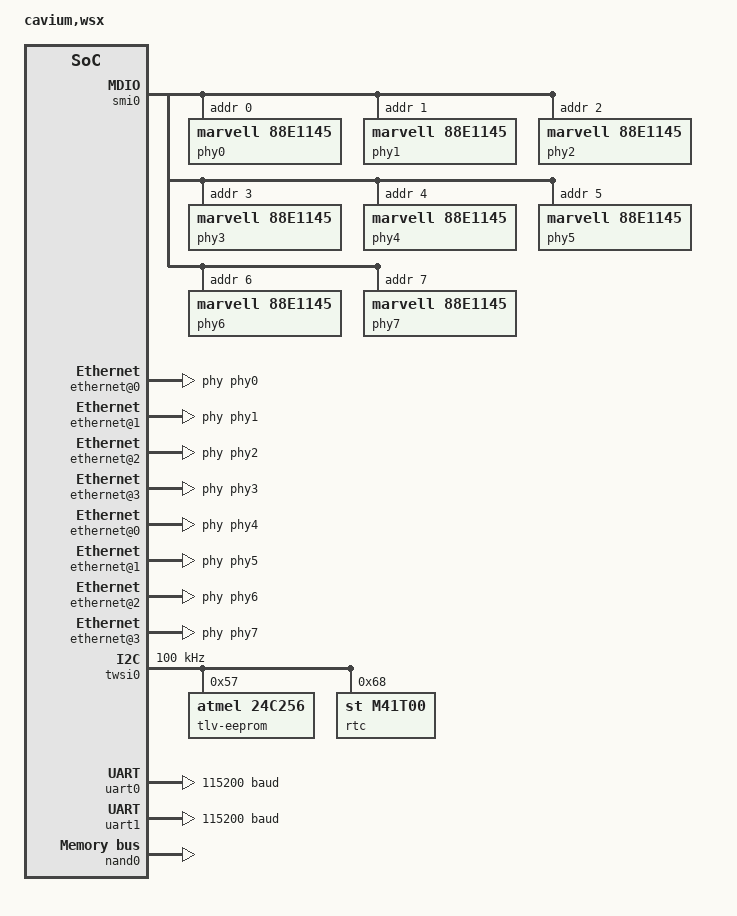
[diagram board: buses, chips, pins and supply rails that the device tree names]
/dts-v1/;
/*
 * Cavium Inc. WSX board
 */
/ {
	model = "cavium,wsx";
	compatible = "cavium,wsx";
	#address-cells = <2>;
	#size-cells = <2>;
	interrupt-parent = <&ciu>;

	soc@0 {
		compatible = "simple-bus";
		#address-cells = <2>;
		#size-cells = <2>;
		ranges; /* Direct mapping */

		ciu: interrupt-controller@1070000000000 {
			compatible = "cavium,octeon-3860-ciu";
			interrupt-controller;
			/* Interrupts are specified by two parts:
			 * 1) Controller register (0 or 1)
			 * 2) Bit within the register (0..63)
			 */
			#interrupt-cells = <2>;
			reg = <0x10700 0x00000000 0x0 0x7000>;
		};

		gpio: gpio-controller@1070000000800 {
			#gpio-cells = <2>;
			compatible = "cavium,octeon-3860-gpio";
			reg = <0x10700 0x00000800 0x0 0x100>;
			gpio-controller;
			/* Interrupts are specified by two parts:
			 * 1) GPIO pin number (0..15)
			 * 2) Triggering (1 - edge rising
			 *		  2 - edge falling
			 *		  4 - level active high
			 *		  8 - level active low)
			 */
			interrupt-controller;
			#interrupt-cells = <2>;
			/* The GPIO pins connect to 16 consecutive CUI bits */
			interrupts = <0 16>; /* <0 17> <0 18> <0 19>
				     <0 20> <0 21> <0 22> <0 23>
				     <0 24> <0 25> <0 26> <0 27>
				     <0 28> <0 29> <0 30> <0 31>; */
		};

		smi0: mdio@1180000001800 {
			compatible = "cavium,octeon-3860-mdio";
			#address-cells = <1>;
			#size-cells = <0>;
			reg = <0x11800 0x00001800 0x0 0x40>;

			phy0: ethernet-phy@0 {
				reg = <0>;
				compatible = "marvell,88e1145";
			};
			phy1: ethernet-phy@1 {
				reg = <1>;
				compatible = "marvell,88e1145";
			};
			phy2: ethernet-phy@2 {
				reg = <2>;
				compatible = "marvell,88e1145";
			};
			phy3: ethernet-phy@3 {
				reg = <3>;
				compatible = "marvell,88e1145";
			};
			phy4: ethernet-phy@4 {
				reg = <4>;
				compatible = "marvell,88e1145";
			};
			phy5: ethernet-phy@5 {
				reg = <5>;
				compatible = "marvell,88e1145";
			};
			phy6: ethernet-phy@6 {
				reg = <6>;
				compatible = "marvell,88e1145";
			};
			phy7: ethernet-phy@7 {
				reg = <7>;
				compatible = "marvell,88e1145";
			};
		};

		pip: pip@11800a0000000 {
			compatible = "cavium,octeon-3860-pip";
			#address-cells = <1>;
			#size-cells = <0>;
			reg = <0x11800 0xa0000000 0x0 0x2000>;

			interface@0 {
				compatible = "cavium,octeon-3860-pip-interface";
				#address-cells = <1>;
				#size-cells = <0>;
				reg = <0>; /* interface */

				ethernet@0 {
					compatible = "cavium,octeon-3860-pip-port";
					reg = <0x0>; /* Port */
					local-mac-address = [ 00 00 00 00 00 00 ];
					phy-handle = <&phy0>;
				};
				ethernet@1 {
					compatible = "cavium,octeon-3860-pip-port";
					reg = <0x1>; /* Port */
					local-mac-address = [ 00 00 00 00 00 00 ];
					phy-handle = <&phy1>;
				};
				ethernet@2 {
					compatible = "cavium,octeon-3860-pip-port";
					reg = <0x2>; /* Port */
					local-mac-address = [ 00 00 00 00 00 00 ];
					phy-handle = <&phy2>;
				};
				ethernet@3 {
					compatible = "cavium,octeon-3860-pip-port";
					reg = <0x3>; /* Port */
					local-mac-address = [ 00 00 00 00 00 00 ];
					phy-handle = <&phy3>;
				};
			};

			interface@1 {
				compatible = "cavium,octeon-3860-pip-interface";
				#address-cells = <1>;
				#size-cells = <0>;
				reg = <1>; /* interface */

				ethernet@0 {
					compatible = "cavium,octeon-3860-pip-port";
					reg = <0x0>; /* Port */
					local-mac-address = [ 00 00 00 00 00 00 ];
					phy-handle = <&phy4>;
				};
				ethernet@1 {
					compatible = "cavium,octeon-3860-pip-port";
					reg = <0x1>; /* Port */
					local-mac-address = [ 00 00 00 00 00 00 ];
					phy-handle = <&phy5>;
				};
				ethernet@2 {
					compatible = "cavium,octeon-3860-pip-port";
					reg = <0x2>; /* Port */
					local-mac-address = [ 00 00 00 00 00 00 ];
					phy-handle = <&phy6>;
				};
				ethernet@3 {
					compatible = "cavium,octeon-3860-pip-port";
					reg = <0x3>; /* Port */
					local-mac-address = [ 00 00 00 00 00 00 ];
					phy-handle = <&phy7>;
				};
			};
		};

		twsi0: i2c@1180000001000 {
			#address-cells = <1>;
			#size-cells = <0>;
			compatible = "cavium,octeon-3860-twsi";
			reg = <0x11800 0x00001000 0x0 0x200>;
			interrupts = <0 45>;
			clock-frequency = <100000>;

			tlv-eeprom@57 {
				compatible = "atmel,24c256";
				reg = <0x57>;
				pagesize = <64>;
			};
			rtc@68 {
				compatible = "st,m41t00";
				reg = <0x68>;
			};

		};

		uart0: serial@1180000000800 {
			compatible = "cavium,octeon-3860-uart","ns16550";
			reg = <0x11800 0x00000800 0x0 0x400>;
			clock-frequency = <0>;
			current-speed = <115200>;
			reg-shift = <3>;
			interrupts = <0 34>;
		};

		uart1: serial@1180000000c00 {
			compatible = "cavium,octeon-3860-uart","ns16550";
			reg = <0x11800 0x00000c00 0x0 0x400>;
			clock-frequency = <0>;
			current-speed = <115200>;
			reg-shift = <3>;
			interrupts = <0 35>;
		};

		bootbus: bootbus@1180000000000 {
			compatible = "cavium,octeon-3860-bootbus";
			reg = <0x11800 0x00000000 0x0 0x200>;
			/* The chip select number and offset */
			#address-cells = <2>;
			/* The size of the chip select region */
			#size-cells = <1>;
			ranges = <0 0  0       0x1fa00000  0x600000>,
				 <1 0  0       0x10000000  0x10000>,
				 <2 0  0       0x1d010000  0xc30000>,
				 <2 0  0x10000 0x20000000  0>, /* NAND broken */
				 <3 0  0x10000 0x30000000  0>,
				 <4 0  0x10000 0x40000000  0>,
				 <5 0  0x10000 0x50000000  0>,
				 <6 0  0x10000 0x60000000  0>,
				 <7 0  0x10000 0x70000000  0>;

			cavium,cs-config@0 {
				compatible = "cavium,octeon-3860-bootbus-config";
				cavium,cs-index = <0>;
				cavium,t-adr  = <10>;
				cavium,t-ce   = <50>;
				cavium,t-oe   = <50>;
				cavium,t-we   = <35>;
				cavium,t-rd-hld = <25>;
				cavium,t-wr-hld = <35>;
				cavium,t-pause  = <0>;
				cavium,t-wait   = <300>;
				cavium,t-page   = <25>;
				cavium,t-rd-dly = <0>;

				cavium,pages     = <0>;
				cavium,bus-width = <8>;
			};
			cavium,cs-config@1 {
				compatible = "cavium,octeon-3860-bootbus-config";
				cavium,cs-index = <1>;
				cavium,t-adr  = <0>;
				cavium,t-ce   = <0>;
				cavium,t-oe   = <120>;
				cavium,t-we   = <120>;
				cavium,t-rd-hld = <52>;
				cavium,t-wr-hld = <12>;
				cavium,t-pause  = <120>;
				cavium,t-wait   = <355>;
				cavium,t-page   = <355>;
				cavium,t-rd-dly = <0>;

				cavium,pages     = <0>;
				cavium,bus-width = <8>;
			};
			cavium,cs-config@2 {
				compatible = "cavium,octeon-3860-bootbus-config";
				cavium,cs-index = <2>;
				cavium,t-adr	= <0>;
				cavium,t-ce	= <40>;
				cavium,t-oe	= <177>;
				cavium,t-we	= <212>;
				cavium,t-rd-hld	= <143>;
				cavium,t-wr-hld	= <40>;
				cavium,t-pause	= <0>;
				cavium,t-wait	= <166>;
				cavium,t-page	= <355>;
				cavium,pages	= <0>;
				cavium,bus-width = <8>;
			};

			flash0: nor@0,0 {
				compatible = "cfi-flash";
				reg = <0 0 0x200000>;
				#address-cells = <1>;
				#size-cells = <1>;

				partition@0 {
					label = "bootloader";
					reg = <0x0 0x1f0000>;
					read-only;
				};
				partition@1f0000 {
					label = "environment";
					reg = <0x1f0000 0x10000>;
					read-only;
				};
			};

			unknown0: unknown@1,0 {
				compatible = "unknown";
				reg = <1 0 0x10000>;
				cavium,bus-width = <8>;
			};
			nand0: nand@2,0 {
				compatible = "nand";
				reg = <2 0 0xc30000>;
				cavium,bus-width = <8>;
				#address-cells = <1>;
				#size-cells = <1>;
			};

		};
	};

	aliases {
		pip = &pip;
		smi0 = &smi0;
		twsi0 = &twsi0;
		uart0 = &uart0;
		uart1 = &uart1;
		flash0 = &flash0;
	};
 };
